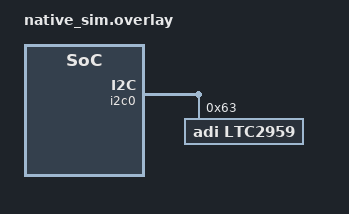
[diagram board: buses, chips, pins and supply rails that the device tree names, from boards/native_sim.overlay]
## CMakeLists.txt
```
# SPDX-License-Identifier: Apache-2.0

cmake_minimum_required(VERSION 3.20.0)

find_package(Zephyr REQUIRED HINTS $ENV{ZEPHYR_BASE})
project(device)

target_sources(app PRIVATE src/test_ltc2959.c)
```

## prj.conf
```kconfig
CONFIG_ZTEST=y
CONFIG_I2C=y
CONFIG_TEST_USERSPACE=y
CONFIG_LOG=y

CONFIG_FUEL_GAUGE=y
CONFIG_FUEL_GAUGE_LTC2959=y
```

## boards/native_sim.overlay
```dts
/*
 * SPDX-License-Identifier: Apache-2.0
 * SPDX-FileCopyrightText: Copyright The Zephyr Project Contributors
 */

&i2c0 {
	ltc2959: ltc2959@63 {
		compatible = "adi,ltc2959";
		reg = <0x63>;
		rsense-milliohms = <50>;
		status = "okay";
	};
};
```

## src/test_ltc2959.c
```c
/*
 * Copyright (c) 2025 Nathan Winslow <natelostintimeandspace@gmail.com>
 *
 * SPDX-License-Identifier: Apache-2.0
 */

#include <zephyr/ztest.h>
#include <zephyr/device.h>
#include <zephyr/drivers/fuel_gauge.h>
#include <zephyr/logging/log.h>
#include <zephyr/kernel.h>
#include <zephyr/sys/byteorder.h>

#define LTC_NODE DT_COMPAT_GET_ANY_STATUS_OKAY(adi_ltc2959)
BUILD_ASSERT(DT_NODE_EXISTS(LTC_NODE), "No adi,ltc2959 node in DT for tests");

#define RSENSE_MOHMS DT_PROP(LTC_NODE, rsense_milliohms)

/* Integer LSB sizes (keep tests stable) */
#define CURRENT_LSB_UA (97500000ULL / ((uint64_t)RSENSE_MOHMS * 32768ULL))
#define VOLTAGE_MAX_UV (UINT16_MAX * 955U) /* ~955 = 62.6V full scale / 65536 */

struct ltc2959_fixture {
	const struct device *dev;
	const struct fuel_gauge_driver_api *api;
};

static void *ltc2959_setup(void)
{
	static ZTEST_DMEM struct ltc2959_fixture fixture;

	fixture.dev = DEVICE_DT_GET_ANY(adi_ltc2959);
	k_object_access_all_grant(fixture.dev);

	zassume_true(device_is_ready(fixture.dev), "Fuel Gauge not found");

	return &fixture;
}

LOG_MODULE_REGISTER(test_ltc2959, LOG_LEVEL_INF);

ZTEST_F(ltc2959, test_get_props__returns_ok)
{
	fuel_gauge_prop_t props[] = {
		FUEL_GAUGE_STATUS,
		FUEL_GAUGE_VOLTAGE_UV,
		FUEL_GAUGE_CURRENT_UA,
		FUEL_GAUGE_TEMPERATURE_DK,
	};

	union fuel_gauge_prop_val vals[ARRAY_SIZE(props)];
	int ret = fuel_gauge_get_props(fixture->dev, props, vals, ARRAY_SIZE(props));

#if CONFIG_EMUL
	zassert_equal(vals[0].fg_status, 0x01);
	zassert_equal(vals[1].voltage_uv, 0x00);
	zassert_equal(vals[2].current_ua, 0x00);
	zassert_equal(vals[3].temperature_dk, 0x00);
#else
	zassert_between_inclusive(vals[0].fg_status, 0, 0xFF);
	zassert_between_inclusive(vals[1].voltage_uv, 0, VOLTAGE_MAX_UV);
#endif
	zassert_equal(ret, 0, "Getting bad property has a good status.");
}

ZTEST_F(ltc2959, test_set_get_single_prop)
{
	int ret;
	union fuel_gauge_prop_val in = {.low_voltage_alarm_uv = 1200000}; /* 1.2V */

	ret = fuel_gauge_set_prop(fixture->dev, FUEL_GAUGE_LOW_VOLTAGE_ALARM_UV, in);
	zassert_equal(ret, 0, "set low voltage threshold failed");

	union fuel_gauge_prop_val out;

	ret = fuel_gauge_get_prop(fixture->dev, FUEL_GAUGE_LOW_VOLTAGE_ALARM_UV, &out);
	zassert_equal(ret, 0, "get low voltage threshold failed");

	/* Allow for register quantization: one LSB ≈ 1.91 mV */
	const int32_t lsb_uv = 62600000 / 32768; /* integer ≈ 1910 */
	int32_t diff = (int32_t)out.low_voltage_alarm_uv - (int32_t)in.low_voltage_alarm_uv;

	zassert_true(diff <= lsb_uv && diff >= -lsb_uv,
		     "Set/get mismatch: in=%d, out=%d, diff=%d > LSB=%d",
		     (int)in.low_voltage_alarm_uv, (int)out.low_voltage_alarm_uv, (int)(diff),
		     (int)lsb_uv);

	LOG_INF("in=%d, out=%d, diff=%d > LSB=%d", (int)in.low_voltage_alarm_uv,
		(int)out.low_voltage_alarm_uv, (int)(diff), (int)lsb_uv);
}

ZTEST_F(ltc2959, test_current_threshold_roundtrip)
{
	int ret;
	union fuel_gauge_prop_val in, out;
	int32_t tol = CURRENT_LSB_UA ? (int32_t)CURRENT_LSB_UA : 100;

	in.high_current_alarm_ua = 123456; /* µA */
	ret = fuel_gauge_set_prop(fixture->dev, FUEL_GAUGE_HIGH_CURRENT_ALARM_UA, in);
	zassert_equal(ret, 0, "set current high threshold failed (%d)", ret);

	ret = fuel_gauge_get_prop(fixture->dev, FUEL_GAUGE_HIGH_CURRENT_ALARM_UA, &out);
	zassert_equal(ret, 0, "get current high threshold failed (%d)", ret);

	int32_t diff = out.high_current_alarm_ua - in.high_current_alarm_ua;

	if (diff < 0) {
		diff = -diff;
	}

	zassert_true(diff <= tol, "current high threshold mismatch: in=%d out=%d diff=%d tol=%d",
		     (int)in.high_current_alarm_ua, (int)out.high_current_alarm_ua, (int)diff,
		     (int)tol);

	in.low_current_alarm_ua = -78901; /* µA */
	ret = fuel_gauge_set_prop(fixture->dev, FUEL_GAUGE_LOW_CURRENT_ALARM_UA, in);
	zassert_equal(ret, 0, "set current low threshold failed (%d)", ret);

	ret = fuel_gauge_get_prop(fixture->dev, FUEL_GAUGE_LOW_CURRENT_ALARM_UA, &out);
	zassert_equal(ret, 0, "get current low threshold failed (%d)", ret);

	diff = out.low_current_alarm_ua - in.low_current_alarm_ua;

	if (diff < 0) {
		diff = -diff;
	}

	zassert_true(diff <= tol, "current low threshold mismatch: in=%d out=%d diff=%d tol=%d",
		     (int)in.low_current_alarm_ua, (int)out.low_current_alarm_ua, (int)diff,
		     (int)tol);
}

ZTEST_F(ltc2959, test_temperature_threshold_roundtrip)
{
	int ret;
	union fuel_gauge_prop_val in;
	union fuel_gauge_prop_val out;

	in.low_temperature_alarm_dk = 3000;
	ret = fuel_gauge_set_prop(fixture->dev, FUEL_GAUGE_LOW_TEMPERATURE_ALARM_DK, in);
	zassert_equal(ret, 0, "set temp low threshold failed (%d)", ret);

	ret = fuel_gauge_get_prop(fixture->dev, FUEL_GAUGE_LOW_TEMPERATURE_ALARM_DK, &out);
	zassert_equal(ret, 0, "get temp low threshold failed (%d)", ret);
	int32_t diff = (int32_t)out.low_temperature_alarm_dk - (int32_t)in.low_temperature_alarm_dk;

	if (diff < 0) {
		diff = -diff;
	}

	zassert_true(diff <= 1, "temp low threshold mismatch: in=%u out=%u diff=%d",
		     in.low_temperature_alarm_dk, out.low_temperature_alarm_dk, (int)diff);

	in.high_temperature_alarm_dk = 3500;
	ret = fuel_gauge_set_prop(fixture->dev, FUEL_GAUGE_HIGH_TEMPERATURE_ALARM_DK, in);
	zassert_equal(ret, 0, "set temp high threshold failed (%d)", ret);

	ret = fuel_gauge_get_prop(fixture->dev, FUEL_GAUGE_HIGH_TEMPERATURE_ALARM_DK, &out);
	zassert_equal(ret, 0, "get temp high threshold failed (%d)", ret);
	diff = (int32_t)out.high_temperature_alarm_dk - (int32_t)in.high_temperature_alarm_dk;

	if (diff < 0) {
		diff = -diff;
	}

	zassert_true(diff <= 1, "temp high threshold mismatch: in=%u out=%u diff=%d",
		     in.high_temperature_alarm_dk, out.high_temperature_alarm_dk, (int)diff);
}

ZTEST_F(ltc2959, test_adc_mode_roundtrip)
{
	int ret;
	union fuel_gauge_prop_val in, out;

	in.adc_mode = 0xC0 | 0x10; /* CONT_VIT + GPIO BIPOLAR */
	ret = fuel_gauge_set_prop(fixture->dev, FUEL_GAUGE_ADC_MODE, in);
	zassert_equal(ret, 0, "set ADC_MODE failed (%d)", ret);

	ret = fuel_gauge_get_prop(fixture->dev, FUEL_GAUGE_ADC_MODE, &out);
	zassert_equal(ret, 0, "get ADC_MODE failed (%d)", ret);
	zassert_equal(out.adc_mode, in.adc_mode, "ADC_MODE mismatch (got 0x%02x)", out.adc_mode);
}

ZTEST_F(ltc2959, test_remaining_capacity_roundtrip)
{
	int ret;
	union fuel_gauge_prop_val in, out;

	in.remaining_capacity = 1234567; /* µAh */
	ret = fuel_gauge_set_prop(fixture->dev, FUEL_GAUGE_REMAINING_CAPACITY, in);
	zassert_equal(ret, 0, "set ACR failed (%d)", ret);

	ret = fuel_gauge_get_prop(fixture->dev, FUEL_GAUGE_REMAINING_CAPACITY, &out);
	zassert_equal(ret, 0, "get ACR failed (%d)", ret);

	int32_t diff = (int32_t)out.remaining_capacity - (int32_t)in.remaining_capacity;

	if (diff < 0) {
		diff = -diff;
	}

	zassert_true(diff <= 1, "ACR mismatch: in=%d out=%d diff=%d tol=1",
		     (int)in.remaining_capacity, (int)out.remaining_capacity, (int)diff);
}

ZTEST_F(ltc2959, test_remaining_capacity_reserved_guard)
{
	int ret;
	union fuel_gauge_prop_val in, out;

	/* 0xFFFFFFFF counts ≈ 2,289,000,000 µAh (533 nAh/LSB) */
	in.remaining_capacity = 2289000000U;
	ret = fuel_gauge_set_prop(fixture->dev, FUEL_GAUGE_REMAINING_CAPACITY, in);
	zassert_equal(ret, 0, "set ACR near fullscale failed (%d)", ret);

	ret = fuel_gauge_get_prop(fixture->dev, FUEL_GAUGE_REMAINING_CAPACITY, &out);
	zassert_equal(ret, 0, "get ACR near fullscale failed (%d)", ret);

	/* We expect the driver to write 0xFFFFFFFE instead, so out <= in and close */
	zassert_true(out.remaining_capacity <= in.remaining_capacity,
		     "ACR guard failed: got larger than requested");
	int32_t diff = (int32_t)in.remaining_capacity - (int32_t)out.remaining_capacity;

	if (diff < 0) {
		diff = -diff;
	}

	zassert_true(diff <= 1, "ACR guard too lossy: in=%d out=%d |diff|=%d",
		     (int)in.remaining_capacity, (int)out.remaining_capacity, (int)diff);
}

ZTEST_F(ltc2959, test_cc_config_sanitized)
{
	int ret;
	union fuel_gauge_prop_val in, out;

	in.cc_config = 0xFF; /* try to set everything */
	ret = fuel_gauge_set_prop(fixture->dev, FUEL_GAUGE_CC_CONFIG, in);
	zassert_equal(ret, 0, "set cc_config failed (%d)", ret);

	ret = fuel_gauge_get_prop(fixture->dev, FUEL_GAUGE_CC_CONFIG, &out);
	zassert_equal(ret, 0, "get cc_config failed (%d)", ret);

	/* Expect bits 7,6,3 kept; bit 4 forced; others cleared => 0xD8 */
	zassert_equal(out.cc_config, 0xD8, "cc_config not sanitized (got 0x%02X)", out.cc_config);
}

ZTEST_USER_F(ltc2959, test_get_some_props_failed__returns_bad_status)
{
	fuel_gauge_prop_t props[] = {
		/* First invalid property */
		FUEL_GAUGE_PROP_MAX,
		/* Second invalid property */
		FUEL_GAUGE_PROP_MAX,
		/* Valid property */
		FUEL_GAUGE_VOLTAGE_UV,
	};
	union fuel_gauge_prop_val vals[ARRAY_SIZE(props)];

	int ret = fuel_gauge_get_props(fixture->dev, props, vals, ARRAY_SIZE(props));

	zassert_equal(ret, -ENOTSUP, "Getting bad property has a good status.");
}

ZTEST_F(ltc2959, test_set_some_props_failed__returns_err)
{
	fuel_gauge_prop_t prop_types[] = {
		/* First invalid property */
		FUEL_GAUGE_PROP_MAX,
		/* Second invalid property */
		FUEL_GAUGE_PROP_MAX,
		/* Valid property */
		FUEL_GAUGE_LOW_VOLTAGE_ALARM_UV,
	};

	union fuel_gauge_prop_val props[] = {
		/* First invalid property */
		{.avg_current_ua = 0},
		/* Second invalid property */
		{.avg_current_ua = 0},
		/* Valid property */
		{.voltage_uv = 0},
	};

	int ret = fuel_gauge_set_props(fixture->dev, prop_types, props, ARRAY_SIZE(props));

	zassert_equal(ret, -ENOTSUP);
}

ZTEST_SUITE(ltc2959, NULL, ltc2959_setup, NULL, NULL, NULL);
```
